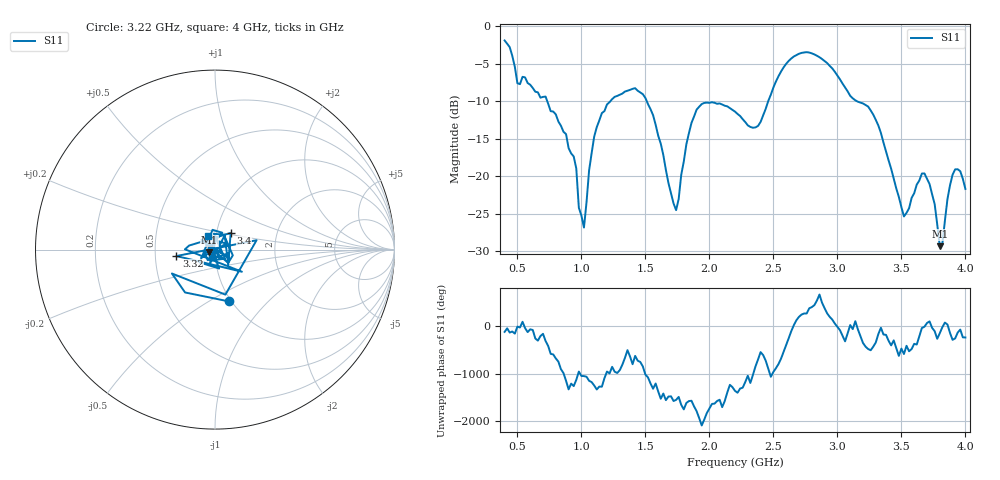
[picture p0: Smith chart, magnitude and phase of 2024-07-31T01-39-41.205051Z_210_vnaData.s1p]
!Created with skrf (http://scikit-rf.org).
# Hz S RI R 50.0
!freq ReS11 ImS11
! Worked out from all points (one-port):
!   181 points, 400 MHz to 4 GHz, reference 50 ohm
!   lowest |S11| = -29.3 dB at 3.8 GHz (marker M1), VSWR 1.07, Z = 47 - j1.4 ohm
!   |S11| at or under -10 dB: 733.2 MHz to 1.226 GHz (493.2 MHz wide, 50.3 % of centre); 1.511 GHz to 2.459 GHz (948.8 MHz wide, 47.8 % of centre); 3.153 GHz to end of sweep
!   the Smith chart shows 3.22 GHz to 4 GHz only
!   S11 on the Smith chart (normalised r, x): 3.22 GHz: 0.97, -0.61; 3.32 GHz: 0.65, -0.05; 3.4 GHz: 1.17, +0.22; 4 GHz: 0.92, +0.14
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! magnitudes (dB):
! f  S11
! 400 MHz  -1.9
! 500 MHz  -7.6
! 720 MHz  -9.4
! 860 MHz  -14.1
! 940 MHz  -17.4
! 1.02 GHz  -26.9
! 1.1 GHz  -14.7
! 1.3 GHz  -9.1
! 1.5 GHz  -9.6
! 1.72 GHz  -23.6
! 1.76 GHz  -23.0
! 1.82 GHz  -15.8
! 1.9 GHz  -11.1
! 2.2 GHz  -11.4
! 2.38 GHz  -13.3
! 2.66 GHz  -4.0
! 2.86 GHz  -4.1
! 3.1 GHz  -9.3
! 3.22 GHz  -10.5
! 3.32 GHz  -13.2
! 3.4 GHz  -17.9
! 3.52 GHz  -25.4
! 3.56 GHz  -24.3
! 3.68 GHz  -19.6
! 3.76 GHz  -23.7
! 3.8 GHz  -29.3
! 3.9 GHz  -19.8
! 4 GHz  -21.7
